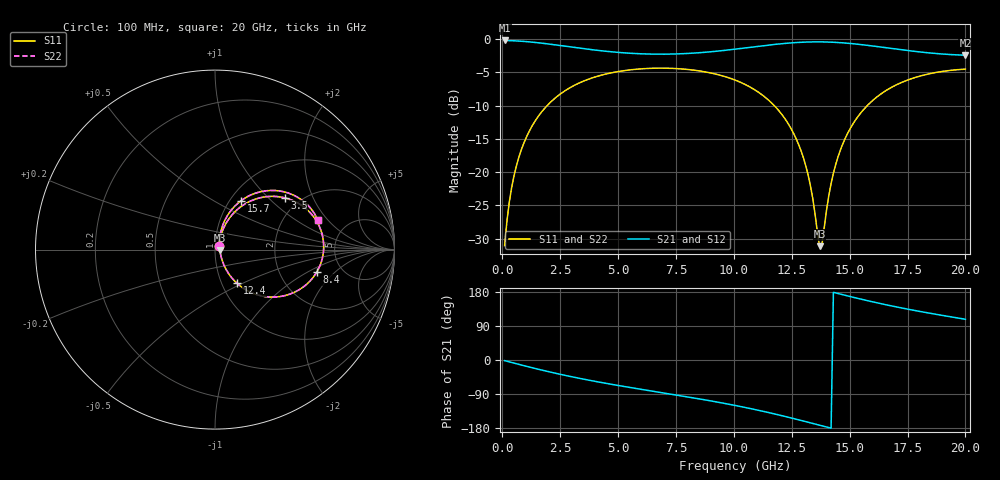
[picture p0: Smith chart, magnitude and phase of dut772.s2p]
! Touchstone file exported from HFSS 2026.1.0
!  File:  C:/ffzhzh/LocalFiles/Ansys_Project_Files/temp_train_TSV_RDL_772_1783209148_43440.aedt
!  Generated:  08:06:53 AM Jul  5, 2026
!  Design:  TSV_RDL
!  Project:  temp_train_TSV_RDL_772_1783209148_43440
! Variables:
!  h_bsmrdl = 5.4um
!  h_ox = 20um
!  h_rdl = 5um
!  h_sub = 84.05um
!  h_tmrdl = 3.58um
!  h_tsv = 84.05um
!  h_via = 3um
!  l_bsmrdl = 558.12um
!  l_sub = 4133.77um
!  l_tmrdl = 484.23um
!  m_sub = 200um
!  pitch = 58.04um
!  r_tsv = 6.08um
!  s_tmrdl = 10um
!  w_bsmrdl = 27.82um
!  w_sub = 500um
!  w_tmrdl = 13.01um
!  x_tsv_center1 = 490.735um
!  x_tsv_center2 = 1076.675um
!  x_tsv_center3 = 1573.915um
!  x_tsv_center4 = 2159.855um
!  x_tsv_center5 = 2657.095um
!  x_tsv_center6 = 3243.035um
# GHz S MA R 50.000000
! Terminal data exported
! Port[1] = TM_RDL1_1_T1
! Port[2] = TM_RDL5_1_T1
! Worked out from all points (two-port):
!   200 points, 100 MHz to 20 GHz, reference 50 ohm
!   highest |S21| = -0.18 dB at 100 MHz (marker M1); lowest = -2.4 dB at 20 GHz (marker M2)
!   |S21| within 3 dB of the highest: start of sweep to end of sweep
!   lowest |S11| = -31.1 dB at 13.7 GHz (marker M3), VSWR 1.06, Z = 52.8 - j0.47 ohm
!   |S11| at or under -10 dB: start of sweep to 1.933 GHz; 11.75 GHz to 15.76 GHz (4.01 GHz wide, 29.2 % of centre)
!   |S22| runs from -31.1 to -4.4 dB; largest |S21 - S12| = 3.7e-14
!   S11 on the Smith chart (normalised r, x): 100 MHz: 1.04, +0.04; 3.5 GHz: 1.67, +1.26; 8.4 GHz: 3.28, -1.22; 12.4 GHz: 1.18, -0.46; 15.7 GHz: 1.12, +0.68; 20 GHz: 3.06, +1.58
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0.1  0.02804 40.3  0.979 -1.7  0.979 -1.7  0.02804 40.3
! Gamma 0 0 0 0
! Port Impedance 50 0 50 0
0.3  0.0591 63.4  0.9766 -4.9  0.9766 -4.9  0.0591 63.4
0.5  0.09296 67.9  0.9734 -8.1  0.9734 -8.1  0.09296 67.9
1.1  0.1929 65.4  0.9576 -17.5  0.9576 -17.5  0.1929 65.4
2.1  0.3382 53.5  0.9161 -32.3  0.9161 -32.3  0.3382 53.5
3.5  0.4835 36.6  0.85 -50.4  0.85 -50.4  0.4835 36.6
5.2  0.5785 18.6  0.7912 -69.3  0.7912 -69.3  0.5785 18.6
6.8  0.606 3.2  0.7717 -85.3  0.7717 -85.3  0.606 3.2
8.4  0.5813 -12.3  0.7891 -101.5  0.7891 -101.5  0.5813 -12.3
10.1  0.4894 -30.2  0.8437 -120.4  0.8437 -120.4  0.4894 -30.2
11.4  0.3605 -45.4  0.8992 -137.3  0.8992 -137.3  0.3605 -45.4
12.4  0.2236 -56.9  0.9363 -151.8  0.9363 -151.8  0.2236 -56.9
13  0.129 -60.8  0.9503 -161.0  0.9503 -161.0  0.129 -60.8
13.4  0.06463 -54.5  0.9548 -167.3  0.9548 -167.3  0.06465 -54.4
13.7  0.02776 -9.2  0.9553 -172.0  0.9553 -172.0  0.02782 -9.2
13.8  0.0284 24.8  0.955 -173.6  0.955 -173.6  0.02846 24.8
14.1  0.06645 66.6  0.9521 -178.3  0.9521 -178.3  0.06648 66.6
14.5  0.1305 72.5  0.9446 175.4  0.9446 175.4  0.1305 72.4
15  0.209 69.5  0.9301 167.8  0.9301 167.8  0.209 69.5
15.7  0.3087 61.9  0.9026 157.6  0.9026 157.6  0.3087 61.9
16.7  0.4241 50.2  0.8572 144.1  0.8572 144.1  0.4241 50.2
20  0.5955 16.2  0.7582 107.5  0.7582 107.5  0.5955 16.2
